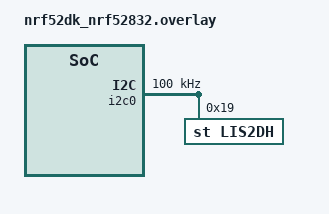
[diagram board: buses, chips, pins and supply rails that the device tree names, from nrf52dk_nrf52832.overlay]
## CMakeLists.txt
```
# SPDX-License-Identifier: Apache-2.0

cmake_minimum_required(VERSION 3.20.0)

find_package(Zephyr REQUIRED HINTS $ENV{ZEPHYR_BASE})
project(accel)

FILE(GLOB app_sources src/*.c)
target_sources(app PRIVATE ${app_sources})
```

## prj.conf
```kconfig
CONFIG_BT=y
CONFIG_BT_EXT_ADV=y
CONFIG_PM_DEVICE=y
CONFIG_CBPRINTF_FP_SUPPORT=y
CONFIG_I2C=y
CONFIG_SENSOR=y
CONFIG_BT_PERIPHERAL=y
CONFIG_BT_DEVICE_NAME="Activity_D1"
CONFIG_BT_GATT_CLIENT=y
CONFIG_LOG=y
CONFIG_LOG_BUFFER_SIZE=2048
CONFIG_SENSOR_LOG_LEVEL_DBG=y
CONFIG_ADC=y
CONFIG_DEBUG_OPTIMIZATIONS=y
CONFIG_COMPILER_OPT=""
CONFIG_MAIN_STACK_SIZE=16365
CONFIG_IDLE_STACK_SIZE=1024
CONFIG_ISR_STACK_SIZE=4096
CONFIG_BT_CTLR_ADV_DATA_LEN_MAX=128
CONFIG_BT_CTLR_TX_PWR_PLUS_4=y
CONFIG_STDOUT_CONSOLE=y
CONFIG_GPIO=y
CONFIG_LIS2DH=y
```

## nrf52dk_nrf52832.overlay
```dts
&i2c0 {
    compatible = "nordic,nrf-twim";
    status = "okay";
    clock-frequency = <I2C_BITRATE_STANDARD>;
    lis2dh@19 {
        status = "okay";
        compatible = "st,lis2dh";
        reg = <0x19>;
        label = "LIS2DH";
    };
};


// / {
//     leds {
//         compatible = "gpio-leds";
//         led0: led_0 {
//             gpios = <&gpio0 2 GPIO_ACTIVE_LOW>;
//             label = "Green LED 0";
//         };
//         led1: led_1 {
//             gpios = <&gpio0 3 GPIO_ACTIVE_LOW>;
//             label = "Green LED 1";
//         };
//         led2: led_2 {
//             gpios = <&gpio0 4 GPIO_ACTIVE_LOW>;
//             label = "Green LED 2";
//         };
//         led3: led_3 {
//             gpios = <&gpio0 28 GPIO_ACTIVE_LOW>;
//             label = "Green LED 3";
//         };
//     };

// };
// &pinctrl {
//     uart0_default: uart0_default {
//         group1 {
//             psels = <NRF_PSEL(UART_TX, 0, 24)>,
//                     <NRF_PSEL(UART_RX, 0, 23)>,
//                     <NRF_PSEL(UART_RTS, 0, 5)>,
//                     <NRF_PSEL(UART_CTS, 0, 7)>;
//         };
//     };

//     uart0_sleep: uart0_sleep {
//         group1 {
//             psels = <NRF_PSEL(UART_TX, 0, 24)>,
//                     <NRF_PSEL(UART_RX, 0, 23)>,
//                     <NRF_PSEL(UART_RTS, 0, 5)>,
//                     <NRF_PSEL(UART_CTS, 0, 7)>;
//             low-power-enable;
//         };
//     };
//     i2c0_default: i2c0_default {
//         group1 {
//             psels = <NRF_PSEL(TWIM_SDA, 0, 26)>,
//                     <NRF_PSEL(TWIM_SCL, 0, 25)>;
//         };
//     };

//     i2c0_sleep: i2c0_sleep {
//         group1 {
//             psels = <NRF_PSEL(TWIM_SDA, 0, 26)>,
//                     <NRF_PSEL(TWIM_SCL, 0, 25)>;
//             low-power-enable;
//         };
//     };
// };
```

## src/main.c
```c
#include <stdio.h>
#include <zephyr/kernel.h>                                   // header files for the project
#include <zephyr/bluetooth/bluetooth.h>
#include <zephyr/drivers/gpio.h>
#include <zephyr/device.h>
#include <zephyr/pm/pm.h>
#include <hal/nrf_gpio.h>
#include <zephyr/drivers/sensor.h>
#include <zephyr/bluetooth/controller.h>
#include <hal/nrf_gpio.h>

#define SENSOR_TYPE     0x1E 
#define TOTAL_PACKETS    1

struct bt_le_ext_adv *adv;                                                            // Declare a pointer to Bluetooth Low Energy extended advertisement structure
const struct device *sensor = DEVICE_DT_GET_ANY(st_lis2dh);             

int8_t accel_value_xa, accel_value_xb;                                                    // Declare a 8 bit signed integer variables to accelorometer values
int8_t accel_value_ya, accel_value_yb;
int8_t accel_value_za, accel_value_zb;

int err;                                                                           // Declare a variable to store error codes

#define DEVICE_NAME CONFIG_BT_DEVICE_NAME
#define DEVICE_NAME_LEN (sizeof(DEVICE_NAME) - 1)                     // It includes the null-terminator (\0) at the end of the string, Subtracting 1 gives the actual length of the string 

struct bt_le_adv_param adv_param = BT_LE_ADV_PARAM_INIT(BT_LE_ADV_OPT_NONE | BT_LE_ADV_OPT_EXT_ADV | BT_LE_ADV_OPT_USE_IDENTITY | BT_LE_ADV_OPT_NO_2M, 0x30, 0x30, NULL);
// start advertising with no timeout and exactly one extended advertising event allowed in the extended advertising set.
struct bt_le_ext_adv_start_param ext_adv_param = BT_LE_EXT_ADV_START_PARAM_INIT(0, 2); // number of events is set to 2.
static uint8_t mfg_data[10] = {0};              // Define a static array to store manufacturer-specific data included in the Bluetooth advertising packets with a size of 10 bytes
static const struct bt_data ad[] = {
      BT_DATA(BT_DATA_MANUFACTURER_DATA, mfg_data, 10),       // Define Bluetooth data with manufacturer-specific data
	    BT_DATA(BT_DATA_NAME_COMPLETE, DEVICE_NAME, DEVICE_NAME_LEN)               // Define Bluetooth data with the complete device name  
                                             
  };
  

//function for creating a random static address and setting it as the identity address of the device.
static void set_random_static_address(void)                     // Function to set a random static address
{
  
  printk("Starting iBeacon Demo\n");                           // Print a message indicating the start of the iBeacon demo

  bt_addr_le_t addr;       //This declares a variable named 'addr' of type 'bt_addr_le_t'. This structure is used to hold a Bluetooth Low Energy (LE) address.     

  // convert the string into a binary address and stores this address in a buffer whose address is addr.
  err = bt_addr_le_from_str("DE:AD:BE:AF:BA:11", "random", &addr); // The second parameter, "random", specifies that the address is a random static address.
  if (err)                                                          // err will hold the return value of this function. If the conversion is successful, err will be 0. 
  {
    printk("Invalid BT address (err %d)\n", err);                    // Print an error message indicating the failure to set the Bluetooth address
  }

  // create a new Identity address. This must be done before enabling Bluetooth. Addr is the address used for the new identity
  err = bt_id_create(&addr, NULL);                                    // Attempt to create a new Bluetooth identity using the provided address
  if (err < 0)                                                             // Check if there was an error in creating the new Bluetooth identity
  {
    printk("Creating new ID failed (err %d)\n", err);                        
  }
  printk("Created new address\n");                                          
}

// function to create the extended advertising set using the advertising parameters.
void adv_param_init(void)                                         // Function to initialize advertising parameters
{
  int err;                                                        
 
  err = bt_le_ext_adv_create(&adv_param, NULL, &adv);           // Attempt to create an extended advertising set, 'NULL' indicating that there are no additional parameters or options provided. 

  if (err)                                                   // Check if there was an error in creating the advertising set
  {
    printk("Failed to create advertising set (err %d)\n", err);       // Print an error message indicating the failure to create the advertising set
    return;                                                           
  }
  printk("Created extended advertising set \n");                       
}

void fetch_acc_data(void)
{
    // Initialize GPIO pins for LEDs
    nrf_gpio_cfg_output(DT_GPIO_PIN(DT_NODELABEL(led0), gpios));    //configures a specified GPIO pin as an output
    nrf_gpio_cfg_output(DT_GPIO_PIN(DT_NODELABEL(led1), gpios));    //The macro 'DT_GPIO_PIN' is used to get the GPIO pin number from the device tree
    nrf_gpio_cfg_output(DT_GPIO_PIN(DT_NODELABEL(led2), gpios));

    // // Initially turn off all LEDs (Active low logic)
    // nrf_gpio_pin_set(DT_GPIO_PIN(DT_NODELABEL(led0), gpios));
    // nrf_gpio_pin_set(DT_GPIO_PIN(DT_NODELABEL(led1), gpios));
    // nrf_gpio_pin_set(DT_GPIO_PIN(DT_NODELABEL(led2), gpios));
    
    mfg_data[0] = 0x59;
    mfg_data[1] = 0x00;
    mfg_data[2] = 158; //device id

        struct sensor_value accel[3];
        
        err = sensor_sample_fetch(sensor); // Fetch sensor samples from the sensor device

        if (err == 0) // Check if the sampling operation was successful
        {
            sensor_channel_get(sensor, SENSOR_CHAN_ACCEL_XYZ, accel);                 //retrieves the X, Y, and Z values from the sensor and stores them in the 'accel' array
            printf("x= %f, y= %f, z= %f\n", sensor_value_to_double(&accel[0]), sensor_value_to_double(&accel[1]), sensor_value_to_double(&accel[2]));
        }
        else
        {
            printf("ERROR: Accelerometer data update failed: %d\n", err);
        }

        accel_value_xb = accel[0].val1; // X value before the decimal
        accel_value_xa = accel[0].val2 / 10000; // X value after the decimal
        accel_value_yb = accel[1].val1; // Y value before the decimal
        accel_value_ya = accel[1].val2 / 10000; // Y value after the decimal
        accel_value_zb = accel[2].val1; // Z value before the decimal
        accel_value_za = accel[2].val2 / 10000; // Z value after the decimal

        if (accel_value_xb == 0 && accel_value_yb == 0 && (accel_value_zb >=9 || accel_value_zb <=-9 ))
        {
            nrf_gpio_pin_clear(DT_GPIO_PIN(DT_NODELABEL(led2), gpios)); //clear indiactes led 'ON' and set indicates led 'OFF'
            nrf_gpio_pin_set(DT_GPIO_PIN(DT_NODELABEL(led0), gpios));
            nrf_gpio_pin_set(DT_GPIO_PIN(DT_NODELABEL(led1), gpios));
        }
        else if (accel_value_yb == 0 && accel_value_zb == 0 && (accel_value_xb >=9 || accel_value_xb <=-9 ))
        {
            nrf_gpio_pin_clear(DT_GPIO_PIN(DT_NODELABEL(led0), gpios));
            nrf_gpio_pin_set(DT_GPIO_PIN(DT_NODELABEL(led1), gpios));
            nrf_gpio_pin_set(DT_GPIO_PIN(DT_NODELABEL(led2), gpios));
        }
        else if (accel_value_xb == 0 && accel_value_zb == 0 && (accel_value_yb >=9 || accel_value_yb <=-9 ))                                                                                                                                        
        {
            nrf_gpio_pin_clear(DT_GPIO_PIN(DT_NODELABEL(led1), gpios));
            nrf_gpio_pin_set(DT_GPIO_PIN(DT_NODELABEL(led2), gpios));
            nrf_gpio_pin_set(DT_GPIO_PIN(DT_NODELABEL(led0), gpios));
        }

        else{
            nrf_gpio_pin_set(DT_GPIO_PIN(DT_NODELABEL(led0), gpios));
            nrf_gpio_pin_set(DT_GPIO_PIN(DT_NODELABEL(led1), gpios));
            nrf_gpio_pin_set(DT_GPIO_PIN(DT_NODELABEL(led2), gpios));
        }

        // Put the logged sensor data into data buffers
        mfg_data[3] = accel_value_xb; // First byte of X value
        mfg_data[4] = accel_value_xa; // Second byte of X value
        mfg_data[5] = accel_value_yb; // First byte of Y value
        mfg_data[6] = accel_value_ya; // Second byte of Y value
        mfg_data[7] = accel_value_zb; // First byte of Z value
        mfg_data[8] = accel_value_za; // Second byte of Z value

    mfg_data[9] = 0x00;
}

void start_adv(void)            
{
  /* Start advertising */

  err = bt_le_ext_adv_set_data(adv, ad, ARRAY_SIZE(ad), NULL, 0);                       // Setting the advertising data or scan response data for extended advertising set
  if (err)                                                                              // Check if there was an error in setting the advertising data
  {
    printk("Failed (err %d)\n", err);                                                    // Print an error message indicating the failure to set the advertising data
    return;
  }
  printk("Start Extended Advertising...");                                                     // Print a message indicating the start of extended advertising

  err = bt_le_ext_adv_start(adv, &ext_adv_param);                                               // BT_LE_EXT_ADV_START_DEFAULT
  if (err)                                                                                   // Start extended advertising with the specified parameters
  {
    printk("Failed to start extended advertising" "(err %d)\n",  err);                                       // Check if there was an error in starting extended advertising
    return;
  }
  printk("done.\n");                                                      // Print a message indicating the completion of extended advertising start

  // enter sleep mode after advertising
  k_msleep(50);                                           // Delay execution for 100 milliseconds
   
  bt_le_ext_adv_stop(adv);                               // Stop extended advertising
  printk("Stopped advertising..!!\n");                   // Print a message indicating the cessation of advertising

}

void main(void)                             // main function
{
  // nrf_gpio_cfg_output(DT_GPIO_PIN(DT_NODELABEL(led3), gpios));    //pin 27 aka VDD HIGH FOR SHT-40. CHECK DTS AND OVERLAY ALWAYS.
  // nrf_gpio_pin_set(DT_GPIO_PIN(DT_NODELABEL(led3), gpios));       // make pin27 high
  printk("Starting Accelorometer Node\n");         

  /* Create a random static address and set it as the identity address of the device */
  set_random_static_address();

  /* Initialize the Bluetooth Subsystem */
  err = bt_enable(NULL);                                               // Enable Bluetooth stack initialization
  if (err)                                                            // Check if there was an error in initializing the Bluetooth stack
  {
    printk("Bluetooth init failed (err %d)\n", err);                 // Print an error message indicating the failure to initialize Bluetooth
    return;
  }
  adv_param_init();                                                  // Initialize advertising parameters
  
  while(1) {
    fetch_acc_data();
    start_adv();
  }
}
```
